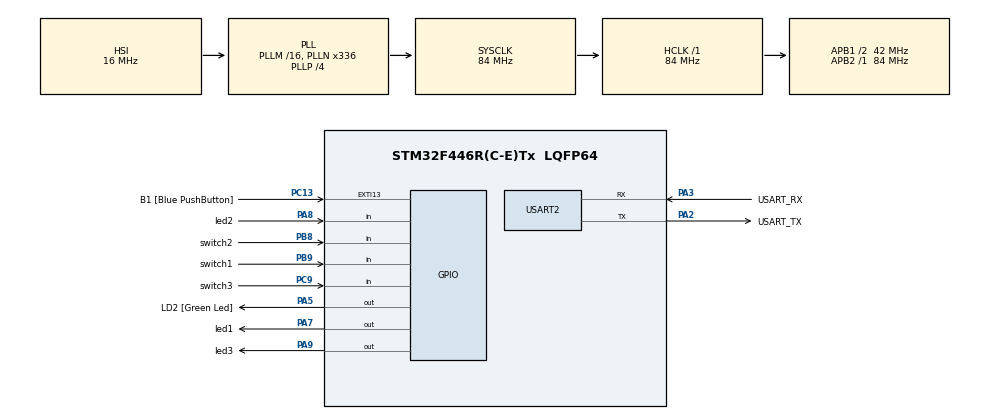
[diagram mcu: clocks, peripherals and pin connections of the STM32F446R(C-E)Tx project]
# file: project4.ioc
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Mcu.Family=STM32F4
Mcu.Name=STM32F446R(C-E)Tx
Mcu.Package=LQFP64
NVIC.PriorityGroup=NVIC_PRIORITYGROUP_0
PA13.GPIO_Label=TMS
PA13.Mode=Serial_Wire
PA13.Signal=SYS_JTMS-SWDIO
PA14.GPIO_Label=TCK
PA14.Mode=Serial_Wire
PA14.Signal=SYS_JTCK-SWCLK
PA2.GPIO_Label=USART_TX
PA2.Mode=Asynchronous
PA2.Signal=USART2_TX
PA3.GPIO_Label=USART_RX
PA3.Mode=Asynchronous
PA3.Signal=USART2_RX
PA5.GPIO_Label=LD2 [Green Led]
PA5.Signal=GPIO_Output
PA7.GPIO_Label=led1
PA7.Signal=GPIO_Output
PA8.GPIO_Label=led2
PA8.Signal=GPIO_Input
PA9.GPIO_Label=led3
PA9.Signal=GPIO_Output
PB3.GPIO_Label=SWO
PB3.Signal=SYS_JTDO-SWO
PB8.GPIO_Label=switch2
PB8.GPIO_PuPd=GPIO_PULLUP
PB8.Signal=GPIO_Input
PB9.GPIO_Label=switch1
PB9.GPIO_PuPd=GPIO_PULLUP
PB9.Signal=GPIO_Input
PC13.GPIO_Label=B1 [Blue PushButton]
PC13.GPIO_ModeDefaultEXTI=GPIO_MODE_IT_FALLING
PC13.Signal=GPXTI13
PC14-OSC32_IN.Mode=LSE-External-Oscillator
PC14-OSC32_IN.Signal=RCC_OSC32_IN
PC15-OSC32_OUT.Mode=LSE-External-Oscillator
PC15-OSC32_OUT.Signal=RCC_OSC32_OUT
PC9.GPIO_Label=switch3
PC9.GPIO_PuPd=GPIO_PULLUP
PC9.Signal=GPIO_Input
PH0-OSC_IN.Mode=HSE-External-Oscillator
PH0-OSC_IN.Signal=RCC_OSC_IN
PH1-OSC_OUT.Mode=HSE-External-Oscillator
PH1-OSC_OUT.Signal=RCC_OSC_OUT
ProjectManager.HeapSize=0x200
ProjectManager.StackSize=0x400
ProjectManager.TargetToolchain=STM32CubeIDE
RCC.48MHZClocksFreq_Value=84000000
RCC.AHBFreq_Value=84000000
RCC.APB1CLKDivider=RCC_HCLK_DIV2
RCC.APB1Freq_Value=42000000
RCC.APB1TimFreq_Value=84000000
RCC.APB2Freq_Value=84000000
RCC.APB2TimFreq_Value=84000000
RCC.CortexFreq_Value=84000000
RCC.FLatency-AdvancedSettings=FLASH_LATENCY_2
RCC.HCLKFreq_Value=84000000
RCC.HSE_VALUE=8000000
RCC.HSI_VALUE=16000000
RCC.PLLN=336
RCC.PLLP=RCC_PLLP_DIV4
RCC.SYSCLKFreq_VALUE=84000000
RCC.SYSCLKSource=RCC_SYSCLKSOURCE_PLLCLK
RCC.USBFreq_Value=168000000
RCC.VCOOutputFreq_Value=336000000
USART2.VirtualMode=VM_ASYNC
board=NUCLEO-F446RE

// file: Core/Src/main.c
/* USER CODE BEGIN Header */
/**
  ******************************************************************************
  * @file           : main.c
  * @brief          : Main program body
  ******************************************************************************
  * @attention
  *
  * Copyright (c) 2024 STMicroelectronics.
  * All rights reserved.
  *
  * This software is licensed under terms that can be found in the LICENSE file
  * in the root directory of this software component.
  * If no LICENSE file comes with this software, it is provided AS-IS.
  *
  ******************************************************************************
  */
/* USER CODE END Header */
#include "main.h"

UART_HandleTypeDef huart2;

void SystemClock_Config(void);
static void MX_GPIO_Init(void);
static void MX_USART2_UART_Init(void);

int main(void)
{

  /* MCU Configuration--------------------------------------------------------*/

  /* Reset of all peripherals, Initializes the Flash interface and the Systick. */
  HAL_Init();

  /* Configure the system clock */
  SystemClock_Config();

  /* Initialize all configured peripherals */
  MX_GPIO_Init();
  MX_USART2_UART_Init();

  /* Infinite loop */
  /* USER CODE BEGIN WHILE */
  while (1)
  {
	  {
	  	  	  if(!(HAL_GPIO_ReadPin(GPIOC,switch1_Pin)))
	  	  		  {
	  	  			  HAL_GPIO_WritePin(GPIOA,led1_Pin,1);
	  	  			  HAL_Delay(100);
	  	  		  }
	  	  	  else if(!(HAL_GPIO_ReadPin(GPIOB,switch2_Pin)))
	  	  	  {
	  	  		  HAL_GPIO_WritePin(GPIOA,led1_Pin,1);
	  	  		  HAL_GPIO_WritePin(GPIOA,led2_Pin,1);
	  	  		  HAL_Delay(100);
	  	  	  }
	  	  	  else if(!(HAL_GPIO_ReadPin(GPIOB,switch3_Pin)))
	  	  	  {
	  	  		  HAL_GPIO_WritePin(GPIOA,led1_Pin,1);
	  	  		  HAL_GPIO_WritePin(GPIOA,led2_Pin,1);
	  	  		  HAL_GPIO_WritePin(GPIOA,led3_Pin,1);
	  	  		  HAL_Delay(100);
	  	  	  }

	  	  	  else
	  	  		  {
	  	  			  HAL_GPIO_WritePin(GPIOA,led1_Pin,0);
	  	  			  HAL_GPIO_WritePin(GPIOA,led2_Pin,0);
	  	  			  HAL_GPIO_WritePin(GPIOA,led3_Pin,0);
	  	  			  HAL_Delay(100);
	  	  		  }
	  	    }
    /* USER CODE END WHILE */

  }
}

void SystemClock_Config(void)
{
  RCC_OscInitTypeDef RCC_OscInitStruct = {0};
  RCC_ClkInitTypeDef RCC_ClkInitStruct = {0};

  /** Configure the main internal regulator output voltage
  */
  __HAL_RCC_PWR_CLK_ENABLE();
  __HAL_PWR_VOLTAGESCALING_CONFIG(PWR_REGULATOR_VOLTAGE_SCALE3);

  /** Initializes the RCC Oscillators according to the specified parameters
  * in the RCC_OscInitTypeDef structure.
  */
  RCC_OscInitStruct.OscillatorType = RCC_OSCILLATORTYPE_HSI;
  RCC_OscInitStruct.HSIState = RCC_HSI_ON;
  RCC_OscInitStruct.HSICalibrationValue = RCC_HSICALIBRATION_DEFAULT;
  RCC_OscInitStruct.PLL.PLLState = RCC_PLL_ON;
  RCC_OscInitStruct.PLL.PLLSource = RCC_PLLSOURCE_HSI;
  RCC_OscInitStruct.PLL.PLLM = 16;
  RCC_OscInitStruct.PLL.PLLN = 336;
  RCC_OscInitStruct.PLL.PLLP = RCC_PLLP_DIV4;
  RCC_OscInitStruct.PLL.PLLQ = 2;
  RCC_OscInitStruct.PLL.PLLR = 2;
  if (HAL_RCC_OscConfig(&RCC_OscInitStruct) != HAL_OK)
  {
    Error_Handler();
  }

  /** Initializes the CPU, AHB and APB buses clocks
  */
  RCC_ClkInitStruct.ClockType = RCC_CLOCKTYPE_HCLK|RCC_CLOCKTYPE_SYSCLK
                              |RCC_CLOCKTYPE_PCLK1|RCC_CLOCKTYPE_PCLK2;
  RCC_ClkInitStruct.SYSCLKSource = RCC_SYSCLKSOURCE_PLLCLK;
  RCC_ClkInitStruct.AHBCLKDivider = RCC_SYSCLK_DIV1;
  RCC_ClkInitStruct.APB1CLKDivider = RCC_HCLK_DIV2;
  RCC_ClkInitStruct.APB2CLKDivider = RCC_HCLK_DIV1;

  if (HAL_RCC_ClockConfig(&RCC_ClkInitStruct, FLASH_LATENCY_2) != HAL_OK)
  {
    Error_Handler();
  }
}

static void MX_USART2_UART_Init(void)
{

  huart2.Instance = USART2;
  huart2.Init.BaudRate = 115200;
  huart2.Init.WordLength = UART_WORDLENGTH_8B;
  huart2.Init.StopBits = UART_STOPBITS_1;
  huart2.Init.Parity = UART_PARITY_NONE;
  huart2.Init.Mode = UART_MODE_TX_RX;
  huart2.Init.HwFlowCtl = UART_HWCONTROL_NONE;
  huart2.Init.OverSampling = UART_OVERSAMPLING_16;
  if (HAL_UART_Init(&huart2) != HAL_OK)
  {
    Error_Handler();
  }

}

static void MX_GPIO_Init(void)
{
  GPIO_InitTypeDef GPIO_InitStruct = {0};

  /* GPIO Ports Clock Enable */
  __HAL_RCC_GPIOC_CLK_ENABLE();
  __HAL_RCC_GPIOH_CLK_ENABLE();
  __HAL_RCC_GPIOA_CLK_ENABLE();
  __HAL_RCC_GPIOB_CLK_ENABLE();

  /*Configure GPIO pin Output Level */
  HAL_GPIO_WritePin(GPIOA, LD2_Pin|led1_Pin|led3_Pin, GPIO_PIN_RESET);

  /*Configure GPIO pin : B1_Pin */
  GPIO_InitStruct.Pin = B1_Pin;
  GPIO_InitStruct.Mode = GPIO_MODE_IT_FALLING;
  GPIO_InitStruct.Pull = GPIO_NOPULL;
  HAL_GPIO_Init(B1_GPIO_Port, &GPIO_InitStruct);

  /*Configure GPIO pins : LD2_Pin led1_Pin led3_Pin */
  GPIO_InitStruct.Pin = LD2_Pin|led1_Pin|led3_Pin;
  GPIO_InitStruct.Mode = GPIO_MODE_OUTPUT_PP;
  GPIO_InitStruct.Pull = GPIO_NOPULL;
  GPIO_InitStruct.Speed = GPIO_SPEED_FREQ_LOW;
  HAL_GPIO_Init(GPIOA, &GPIO_InitStruct);

  /*Configure GPIO pin : switch3_Pin */
  GPIO_InitStruct.Pin = switch3_Pin;
  GPIO_InitStruct.Mode = GPIO_MODE_INPUT;
  GPIO_InitStruct.Pull = GPIO_PULLUP;
  HAL_GPIO_Init(switch3_GPIO_Port, &GPIO_InitStruct);

  /*Configure GPIO pin : led2_Pin */
  GPIO_InitStruct.Pin = led2_Pin;
  GPIO_InitStruct.Mode = GPIO_MODE_INPUT;
  GPIO_InitStruct.Pull = GPIO_NOPULL;
  HAL_GPIO_Init(led2_GPIO_Port, &GPIO_InitStruct);

  /*Configure GPIO pins : switch2_Pin switch1_Pin */
  GPIO_InitStruct.Pin = switch2_Pin|switch1_Pin;
  GPIO_InitStruct.Mode = GPIO_MODE_INPUT;
  GPIO_InitStruct.Pull = GPIO_PULLUP;
  HAL_GPIO_Init(GPIOB, &GPIO_InitStruct);

}

void Error_Handler(void)
{
  __disable_irq();
  while (1)
  {
  }
}
